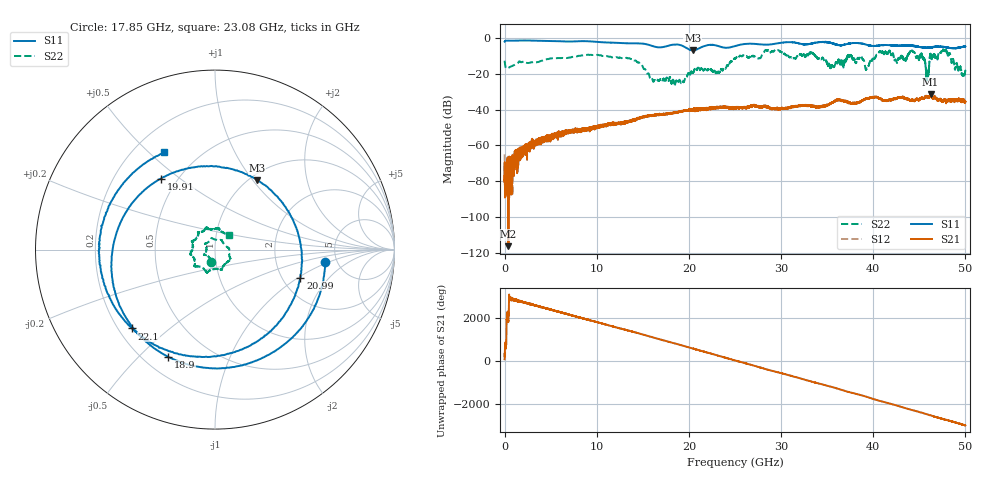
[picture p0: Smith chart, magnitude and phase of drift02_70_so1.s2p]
!Created with skrf (http://scikit-rf.org).
# Hz S RI R 50.0
!freq ReS11 ImS11 ReS21 ImS21 ReS12 ImS12 ReS22 ImS22
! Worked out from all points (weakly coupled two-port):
!   10001 points, 300 kHz to 50 GHz, reference 50 ohm
!   highest |S21| = -31.47 dB at 46.23 GHz (marker M1); lowest = -116.4 dB at 415.3 MHz (marker M2)
!   lowest |S11| = -6.9 dB at 20.41 GHz (marker M3), VSWR 2.65, Z = 54.2 + j52.5 ohm
!   |S11| at or under -10 dB: nowhere
!   |S22| runs from -26.6 to -6.2 dB; largest |S21 - S12| = 0.0036
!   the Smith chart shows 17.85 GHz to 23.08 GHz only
!   S11 on the Smith chart (normalised r, x): 17.85 GHz: 4.02, -0.89; 18.9 GHz: 0.30, -0.62; 19.91 GHz: 0.41, +0.43; 20.99 GHz: 2.51, -1.05; 22.1 GHz: 0.26, -0.38; 23.08 GHz: 0.32, +0.56
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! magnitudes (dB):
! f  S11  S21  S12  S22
! 300 kHz  -2.0  -77.3  -65.0  -12.7
! 415.3 MHz  -1.4  -116.4  -96.1  -16.7
! 3.02 GHz  -1.4  -60.1  -60.1  -13.5
! 8.335 GHz  -1.7  -51.9  -51.3  -9.7
! 13.7 GHz  -2.9  -46.0  -46.3  -11.7
! 16.67 GHz  -5.2  -42.7  -43.0  -23.7
! 17.85 GHz  -4.2  -42.4  -42.2  -23.1
! 18.9 GHz  -3.7  -41.5  -41.4  -23.9
! 19.91 GHz  -6.1  -40.3  -40.4  -19.7
! 20.41 GHz  -6.9  -40.3  -40.3  -19.2
! 20.99 GHz  -6.0  -39.8  -40.3  -16.7
! 22.1 GHz  -3.9  -39.3  -40.0  -17.5
! 23.08 GHz  -4.3  -38.7  -38.5  -19.1
! 25 GHz  -4.5  -39.6  -39.0  -11.5
! 33.34 GHz  -3.0  -38.2  -38.1  -8.3
! 39.33 GHz  -3.8  -33.9  -33.7  -16.9
! 41.67 GHz  -4.0  -34.5  -34.7  -7.6
! 44.27 GHz  -4.4  -34.4  -34.5  -7.5
! 45.85 GHz  -5.4  -32.8  -33.0  -20.1
! 46.23 GHz  -5.2  -31.5  -32.0  -9.3
! 47.76 GHz  -5.0  -34.6  -34.6  -6.9
! 50 GHz  -4.7  -35.4  -35.8  -18.4
